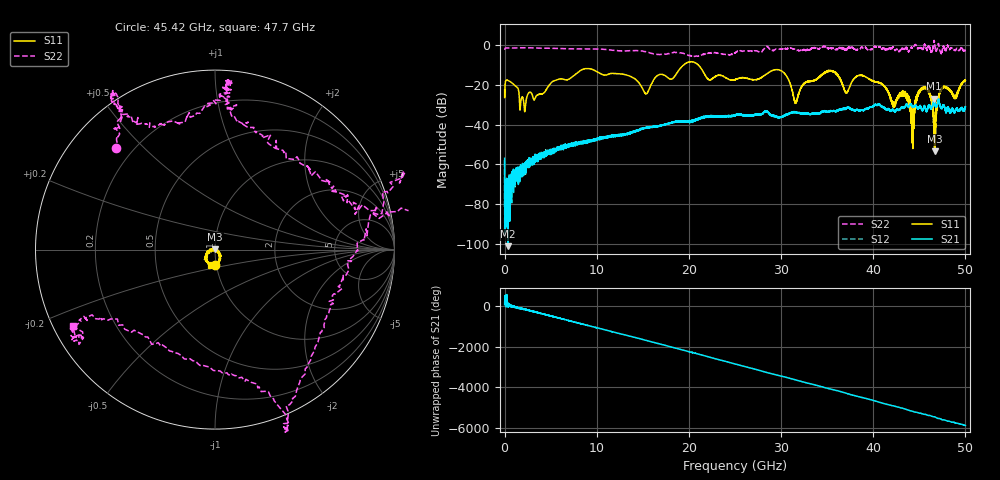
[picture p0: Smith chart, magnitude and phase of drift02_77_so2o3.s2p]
!Created with skrf (http://scikit-rf.org).
# Hz S RI R 50.0
!freq ReS11 ImS11 ReS21 ImS21 ReS12 ImS12 ReS22 ImS22
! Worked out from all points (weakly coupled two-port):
!   10001 points, 300 kHz to 50 GHz, reference 50 ohm
!   highest |S21| = -26.96 dB at 46.62 GHz (marker M1); lowest = -101.2 dB at 355.3 MHz (marker M2)
!   lowest |S11| = -53.4 dB at 46.68 GHz (marker M3), VSWR 1.00, Z = 50.1 + j0.206 ohm
!   |S11| at or under -10 dB: start of sweep to 19.42 GHz; 21.00495 GHz to 21.00566 GHz (706.7 kHz wide, 0.00336 % of centre); 21.01 GHz to end of sweep
!   |S22| runs from -5.7 to 2.3 dB; largest |S21 - S12| = 0.0034
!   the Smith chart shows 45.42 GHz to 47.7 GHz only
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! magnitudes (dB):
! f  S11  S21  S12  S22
! 300 kHz  -22.6  -57.0  -58.2  -2.0
! 355.3 MHz  -17.8  -101.2  -79.8  -1.4
! 2.18 GHz  -33.6  -61.6  -63.3  -1.3
! 8.335 GHz  -12.5  -48.5  -49.9  -1.9
! 15.34 GHz  -24.5  -41.7  -41.6  -3.3
! 16.67 GHz  -15.1  -40.9  -41.0  -4.7
! 20.31 GHz  -8.4  -37.9  -38.3  -5.5
! 25 GHz  -17.4  -35.3  -35.4  -3.8
! 29.85 GHz  -12.6  -36.3  -36.6  -2.0
! 31.59 GHz  -28.8  -33.6  -34.0  -2.4
! 33.34 GHz  -18.1  -34.7  -34.3  -1.6
! 35.6 GHz  -13.1  -33.2  -33.2  -1.6
! 37.1 GHz  -24.2  -31.7  -31.7  -2.3
! 38.77 GHz  -15.3  -32.6  -32.5  -1.0
! 41.67 GHz  -24.3  -32.1  -32.3  -1.9
! 43.47 GHz  -24.5  -30.8  -30.8  -1.6
! 44.27 GHz  -33.2  -31.2  -31.1  -1.4
! 45.7 GHz  -21.4  -32.4  -32.5  -0.8
! 46.62 GHz  -43.1  -27.0  -26.9  2.0
! 46.68 GHz  -53.4  -28.9  -28.5  0.1
! 47.47 GHz  -21.9  -31.4  -31.6  -3.3
! 50 GHz  -17.8  -31.0  -31.5  -2.7
